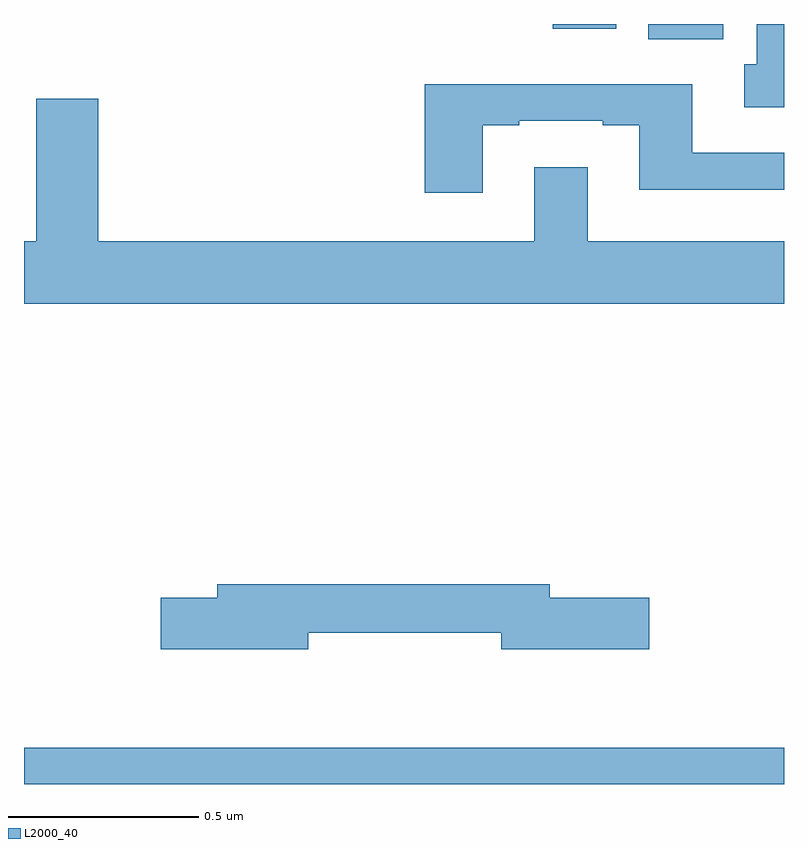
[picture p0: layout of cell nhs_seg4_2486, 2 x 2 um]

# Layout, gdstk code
import gdstk
lib = gdstk.Library(unit=1e-6, precision=1e-09)
def R(c, l, rs):  # rectangles x0, y0, x1, y1
    for r in rs: c.add(gdstk.rectangle(r[:2], r[2:], *l))
def P(c, l, *ps):  # polygons
    for p in ps: c.add(gdstk.Polygon(p, *l))
L2000_40 = (2000, 40)

nhs_seg4_2486 = lib.new_cell('nhs_seg4_2486')
R(nhs_seg4_2486, L2000_40, [(141,784.9,143,784.996), (142.643,786.86,142.84,786.9), (142.391,786.888,142.558,786.9)])
P(nhs_seg4_2486, L2000_40, [(143,786.9),(142.928,786.9),(142.928,786.794),(142.895,786.794),(142.895,786.681),(143,786.681)],
  [(142.207,786.633),(142.303,786.633),(142.303,786.645),(142.523,786.645),(142.523,786.633),(142.619,786.633),(142.619,786.464),(143,786.464),(143,786.561),(142.759,786.561),(142.759,786.742),(142.055,786.742),(142.055,786.456),(142.207,786.456)],
  [(143,786.328),(142.483,786.328),(142.483,786.523),(142.343,786.523),(142.343,786.328),(141.196,786.328),(141.196,786.703),(141.032,786.703),(141.032,786.328),(141,786.328),(141,786.164),(143,786.164)],
  [(141.748,785.298),(142.256,785.298),(142.256,785.255),(142.645,785.255),(142.645,785.39),(142.384,785.39),(142.384,785.426),(141.509,785.426),(141.509,785.39),(141.36,785.39),(141.36,785.255),(141.748,785.255)])

lib.write_gds('nhs_seg4_2486.gds')
